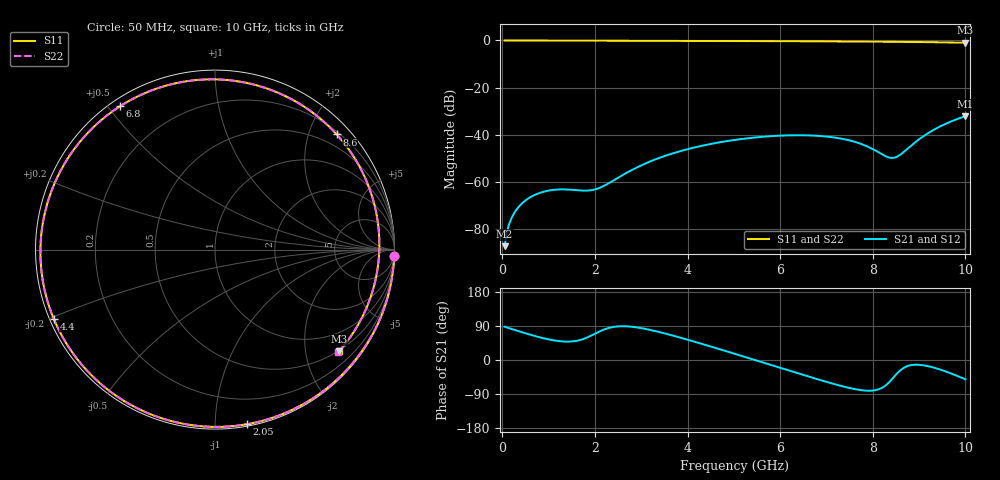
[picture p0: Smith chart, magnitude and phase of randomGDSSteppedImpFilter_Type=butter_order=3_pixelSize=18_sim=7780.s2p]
! freq	dB(S11)	phase(S11)	dB(S12)	phase(S12)
!  dB(S21)	phase(S21)	dB(S22)	phase(S22)
!S-par simulation data
#  GHz  S  DB  R 50
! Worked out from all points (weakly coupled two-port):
!   200 points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, 50 MHz to 10 GHz, reference 50 ohm
!   highest |S21| = -32.09 dB at 10 GHz (marker M1); lowest = -87.2 dB at 50 MHz (marker M2)
!   lowest |S11| = -1.0 dB at 10 GHz (marker M3), VSWR 17.83, Z = 24.1 - j136 ohm
!   |S11| at or under -10 dB: nowhere
!   |S22| runs from -1.0 to 0.0 dB; largest |S21 - S12| = 0
!   S11 on the Smith chart (normalised r, x): 50 MHz: 1, -55; 2.05 GHz: 0.01, -1.20; 4.4 GHz: 0.01, -0.21; 6.8 GHz: 0.03, +0.54; 8.6 GHz: 0.25, +2.49; 10 GHz: 0.48, -2.72
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0.05  -0.01 -2.1  -87.16 87.8  -87.16 87.8  -0.01 -2.1
0.1  -0.01 -4.1  -81.17 85.8  -81.17 85.8  -0.01 -4.1
0.2  -0.01 -8.2  -75.25 81.8  -75.25 81.8  -0.01 -8.2
0.35  -0.02 -14.3  -70.59 76.1  -70.59 76.1  -0.02 -14.3
0.65  -0.03 -26.4  -65.93 65.1  -65.93 65.1  -0.03 -26.4
1.1  -0.05 -44.2  -63.32 52.0  -63.32 52.0  -0.05 -44.2
1.75  -0.08 -68.8  -63.62 55.4  -63.62 55.4  -0.08 -68.8
2.05  -0.10 -79.7  -62.82 72.4  -62.82 72.4  -0.10 -79.7
2.7  -0.12 -102.3  -55.92 88.8  -55.92 88.8  -0.12 -102.3
3.4  -0.15 -125.4  -49.69 73.5  -49.69 73.5  -0.15 -125.4
4.4  -0.20 -156.8  -44.25 39.3  -44.25 39.3  -0.20 -156.8
5.05  -0.23 -177.1  -42.06 15.2  -42.06 15.2  -0.23 -177.2
5.9  -0.30 155.3  -40.43 -16.8  -40.43 -16.8  -0.30 155.3
6.7  -0.36 127.2  -40.29 -46.8  -40.29 -46.8  -0.36 127.1
6.8  -0.37 123.4  -40.40 -50.5  -40.40 -50.5  -0.37 123.3
7.65  -0.46 88.9  -43.19 -77.7  -43.19 -77.7  -0.46 88.8
8.35  -0.56 56.2  -49.59 -59.2  -49.59 -59.2  -0.56 55.9
8.6  -0.60 43.4  -48.32 -26.7  -48.32 -26.7  -0.60 43.1
9  -0.67 21.7  -41.88 -12.6  -41.88 -12.6  -0.68 21.3
9.35  -0.76 1.4  -37.51 -21.2  -37.51 -21.2  -0.76 1.0
9.65  -0.85 -16.9  -34.66 -33.6  -34.66 -33.6  -0.85 -17.4
10  -0.98 -39.4  -32.09 -51.0  -32.09 -51.0  -0.98 -39.9
